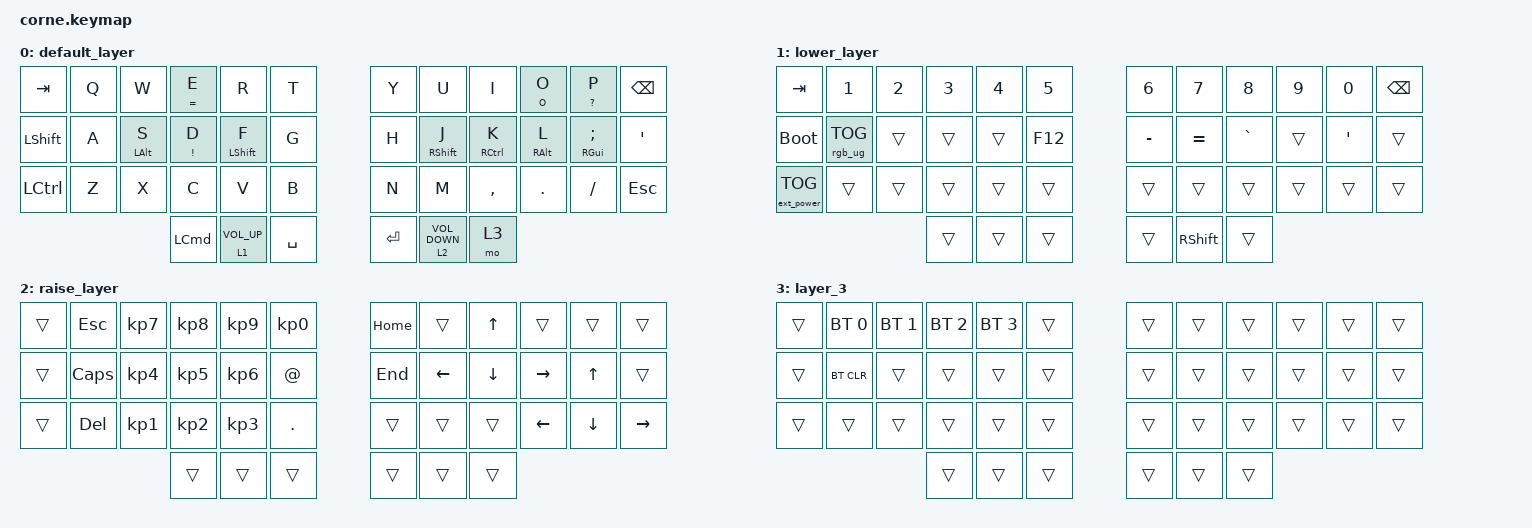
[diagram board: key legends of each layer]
/*
 * Copyright (c) 2020 The ZMK Contributors
 *
 * SPDX-License-Identifier: MIT
 */

#include <behaviors.dtsi>
#include <dt-bindings/zmk/bt.h>
#include <dt-bindings/zmk/ext_power.h>
#include <dt-bindings/zmk/keys.h>
#include <dt-bindings/zmk/rgb.h>

/ {
    behaviors {
        hm: homerow_mods {
            compatible = "zmk,behavior-hold-tap";
            label = "HOMEROW_MODS";
            #binding-cells = <2>;
            tapping-term-ms = <200>;
            quick_tap_ms = <0>;
            flavor = "tap-preferred";
            bindings = <&kp>, <&kp>;

            quick-tap-ms = <180>;
            global-quick-tap;
        };

        ltq: ltq {
            compatible = "zmk,behavior-hold-tap";
            label = "LTQ";
            bindings = <&mo>, <&kp>;

            #binding-cells = <2>;
            tapping-term-ms = <600>;
            global-quick-tap;
            quick-tap-ms = <400>;
        };
    };

    combos {
        compatible = "zmk,combos";

        left_bkt {
            bindings = <&kp LEFT_BRACKET>;
            key-positions = <4 3>;
            timeout-ms = <50>;
        };

        right_bkt {
            bindings = <&kp RBKT>;
            key-positions = <7 8>;
            timeout-ms = <50>;
        };

        left_par {
            bindings = <&kp LEFT_PARENTHESIS>;
            key-positions = <15 16>;
            timeout-ms = <50>;
        };

        right_par {
            bindings = <&kp RIGHT_PARENTHESIS>;
            key-positions = <19 20>;
            timeout-ms = <50>;
        };

        left_brace {
            bindings = <&kp LEFT_BRACE>;
            key-positions = <27 28>;
            timeout-ms = <50>;
        };

        right_brace {
            bindings = <&kp RIGHT_BRACE>;
            key-positions = <32 31>;
            timeout-ms = <50>;
        };

        bac {
            bindings = <&kp BACKSLASH>;
            key-positions = <5 6>;
        };

        pipe {
            bindings = <&kp PIPE>;
            key-positions = <17 18>;
        };

        comillasimple {
            bindings = <&kp DQT>;
            key-positions = <1 2>;
        };

        quotesimple {
            bindings = <&kp SINGLE_QUOTE>;
            key-positions = <13 14>;
        };

        great_than {
            bindings = <&kp GREATER_THAN>;
            key-positions = <15 3>;
        };

        less_than {
            bindings = <&kp LESS_THAN>;
            key-positions = <2 14>;
        };

        mute {
            bindings = <&kp K_MUTE>;
            key-positions = <41 40>;
        };
    };

    keymap {
        compatible = "zmk,keymap";

        default_layer {
            bindings = <
&kp TAB         &kp Q  &kp W           &hm EQUAL E       &kp R             &kp T      &kp Y      &kp U                &kp I        &hm O O          &hm QUESTION P      &kp BSPC
&kp LEFT_SHIFT  &kp A  &hm LEFT_ALT S  &hm EXCL D        &hm LEFT_SHIFT F  &kp G      &kp H      &hm RSHIFT J         &hm RCTRL K  &hm RIGHT_ALT L  &hm RGUI SEMICOLON  &kp SQT
&kp LCTRL       &kp Z  &kp X           &kp C             &kp V             &kp B      &kp N      &kp M                &kp COMMA    &kp DOT          &kp FSLH            &kp ESC
                                       &kp LEFT_COMMAND  &lt 1 C_VOL_UP    &kp SPACE  &kp ENTER  &lt 2 C_VOLUME_DOWN  &mo 3
            >;
        };

        lower_layer {
            bindings = <
&kp TAB            &kp N1           &kp N2  &kp N3  &kp N4  &kp N5   &kp N6     &kp N7           &kp N8     &kp N9  &kp N0   &kp BSPC
&bootloader        &rgb_ug RGB_TOG  &trans  &trans  &trans  &kp F12  &kp MINUS  &kp EQUAL        &kp GRAVE  &trans  &kp SQT  &trans
&ext_power EP_TOG  &trans           &trans  &trans  &trans  &trans   &trans     &trans           &trans     &trans  &trans   &trans
                                            &trans  &trans  &trans   &trans     &kp RIGHT_SHIFT  &trans
            >;
        };

        raise_layer {
            bindings = <
&trans  &kp ESC     &kp KP_NUMBER_7  &kp KP_NUMBER_8  &kp KP_NUMBER_9  &kp KP_NUMBER_0  &kp HOME  &trans    &kp UP    &trans          &trans          &trans
&trans  &kp CAPS    &kp KP_NUMBER_4  &kp KP_NUMBER_5  &kp KP_NUMBER_6  &kp AT           &kp END   &kp LEFT  &kp DOWN  &kp RIGHT       &kp UP_ARROW    &trans
&trans  &kp DELETE  &kp KP_NUMBER_1  &kp KP_NUMBER_2  &kp KP_NUMBER_3  &kp DOT          &trans    &trans    &trans    &kp LEFT_ARROW  &kp DOWN_ARROW  &kp RIGHT_ARROW
                                     &trans           &trans           &trans           &trans    &trans    &trans
            >;
        };

        layer_3 {
            bindings = <
&trans  &bt BT_SEL 0  &bt BT_SEL 1  &bt BT_SEL 2  &bt BT_SEL 3  &trans  &trans  &trans  &trans  &trans  &trans  &trans
&trans  &bt BT_CLR    &trans        &trans        &trans        &trans  &trans  &trans  &trans  &trans  &trans  &trans
&trans  &trans        &trans        &trans        &trans        &trans  &trans  &trans  &trans  &trans  &trans  &trans
                                    &trans        &trans        &trans  &trans  &trans  &trans
            >;
        };

        extra1 { status = "reserved"; };

        extra2 { status = "reserved"; };

        extra3 { status = "reserved"; };

        extra4 { status = "reserved"; };
    };
};
